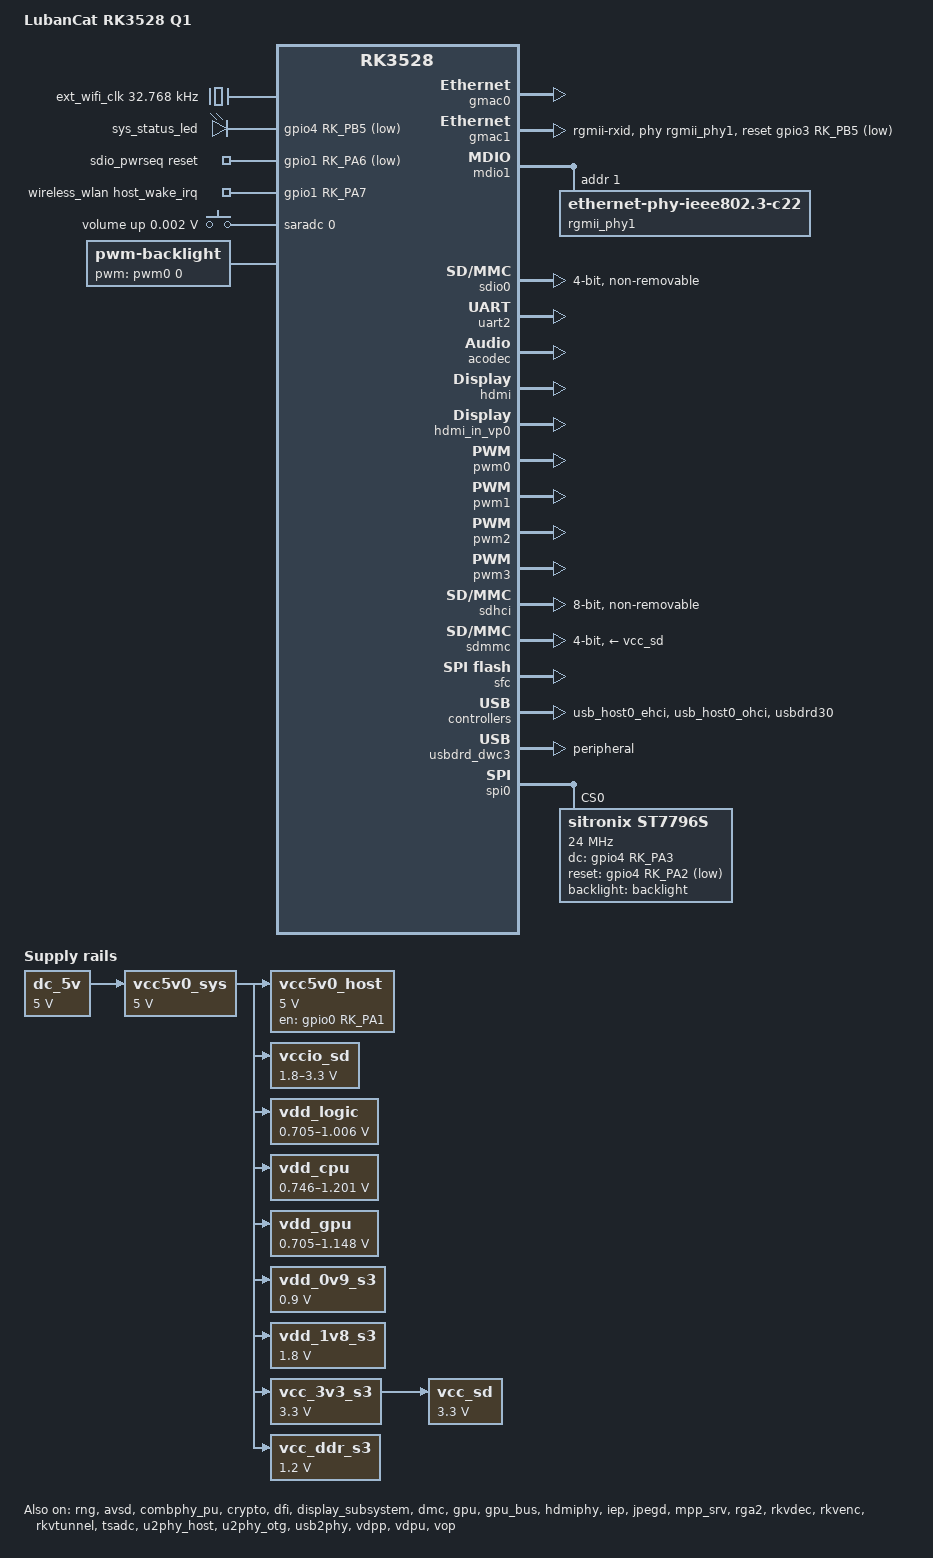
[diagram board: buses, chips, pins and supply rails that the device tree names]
// SPDX-License-Identifier: (GPL-2.0+ OR MIT)
/*
 * Copyright (c) 2022 Rockchip Electronics Co., Ltd.
 *
 */
 /dts-v1/;

 #include "rk3528.dtsi"
 #include <dt-bindings/gpio/gpio.h>
 #include <dt-bindings/input/rk-input.h>
 #include <dt-bindings/pinctrl/rockchip.h>
 #include "rk3528-linux.dtsi"
 
 / {
 
     model = "LubanCat RK3528 Q1";
     compatible = "rockchip,lubancat-q1", "rockchip,rk3528";
 
     chosen: chosen {
         bootargs = "earlycon=uart8250,mmio32,0xff9f0000 console=ttyFIQ0 root=PARTUUID=614e0000-0000 rw rootwait";
     };
 
     ext_wifi_clk: external-wifi-clock {
         compatible = "fixed-clock";
         #clock-cells = <0>;
         clock-frequency = <32768>;
         clock-output-names = "ext_wifi_clk";
     };
 
     leds: leds {
         status = "okay";
         compatible = "gpio-leds";
 
         sys_led: sys-led {
             label = "sys_status_led";
             linux,default-trigger = "heartbeat";
             default-state = "on";
             gpios = <&gpio4 RK_PB5 GPIO_ACTIVE_LOW>;
             pinctrl-names = "default";
             pinctrl-0 = <&sys_led_pin>;
         };
     };
 
     sdio_pwrseq: sdio-pwrseq {
         compatible = "mmc-pwrseq-simple";
         pinctrl-names = "default";
         pinctrl-0 = <&wifi_enable_h>;
         reset-gpios = <&gpio1 RK_PA6 GPIO_ACTIVE_LOW>;
     };
 
     wireless_wlan: wireless-wlan {
         compatible = "wlan-platdata";
         rockchip,grf = <&grf>;
         wifi_chip_type = "rtl8189es";
         pinctrl-names = "default";
         clocks = <&ext_wifi_clk>;
         clock-names = "clk_wifi";
         pinctrl-0 = <&wifi_host_wake_irq &clkm1_32k_out>;
         WIFI,host_wake_irq = <&gpio1 RK_PA7 GPIO_ACTIVE_HIGH>;
         status = "okay";
     };
 
     acodec_sound: acodec-sound {
         status = "okay";
         compatible = "simple-audio-card";
         simple-audio-card,name = "rk3528-acodec";
         simple-audio-card,format = "i2s";
         simple-audio-card,mclk-fs = <256>;
         simple-audio-card,cpu {
             sound-dai = <&sai2>;
         };
         simple-audio-card,codec {
             sound-dai = <&acodec>;
         };
     };
 
     adc_keys: adc-keys {
         status = "okay";
         compatible = "adc-keys";
         io-channels = <&saradc 0>;
         io-channel-names = "buttons";
         keyup-threshold-microvolt = <1800000>;
         poll-interval = <100>;
 
         vol-up-key {
             label = "volume up";
             linux,code = <KEY_VOLUMEUP>;
             press-threshold-microvolt = <1750>;
         };
     };
 
     dc_5v: dc-5v {
         compatible = "regulator-fixed";
         regulator-name = "dc_5v";
         regulator-always-on;
         regulator-boot-on;
         regulator-min-microvolt = <5000000>;
         regulator-max-microvolt = <5000000>;
     };
 
     hdmi_sound: hdmi-sound {
         compatible = "rockchip,hdmi";
         rockchip,mclk-fs = <128>;
         rockchip,card-name = "rockchip,hdmi";
         rockchip,cpu = <&sai3>;
         rockchip,codec = <&hdmi>;
         rockchip,jack-det;
     };
 
     pdmics: dummy-codec {
         status = "disabled";
         compatible = "rockchip,dummy-codec";
         #sound-dai-cells = <0>;
     };
 
     pdm_mic_array: pdm-mic-array {
         status = "disabled";
         compatible = "simple-audio-card";
         simple-audio-card,name = "rockchip,pdm-mic-array";
         simple-audio-card,cpu {
             sound-dai = <&pdm>;
         };
         simple-audio-card,codec {
             sound-dai = <&pdmics>;
         };
     };
 
     vcc5v0_sys: vcc5v0-sys {
         compatible = "regulator-fixed";
         regulator-name = "vcc5v0_sys";
         regulator-always-on;
         regulator-boot-on;
         regulator-min-microvolt = <5000000>;
         regulator-max-microvolt = <5000000>;
         vin-supply = <&dc_5v>;
     };
 
     vcc5v0_host: vcc5v0-host-regulator {
         compatible = "regulator-fixed";
         regulator-name = "vcc5v0_host";
         regulator-boot-on;
         regulator-always-on;
         regulator-min-microvolt = <5000000>;
         regulator-max-microvolt = <5000000>;
         enable-active-high;
         gpio = <&gpio0 RK_PA1 GPIO_ACTIVE_HIGH>;
         vin-supply = <&vcc5v0_sys>;
         pinctrl-names = "default";
         pinctrl-0 = <&vcc5v0_host_en>;
     };
 
     vccio_sd: vccio-sd {
         compatible = "regulator-gpio";
         regulator-name = "vccio_sd";
         regulator-min-microvolt = <1800000>;
         regulator-max-microvolt = <3300000>;
         gpios = <&gpio0 RK_PA0 GPIO_ACTIVE_LOW>;
         vin-supply = <&vcc5v0_sys>;
         states = <1800000 0x1 3300000 0x0>;
     };
 
     vdd_logic: vdd-logic {
         compatible = "pwm-regulator";
         pwms = <&pwm2 0 5000 1>;
         regulator-name = "vdd_logic";
         regulator-min-microvolt = <705000>;
         regulator-max-microvolt = <1006000>;
         regulator-init-microvolt = <900000>;
         regulator-ramp-delay = <12500>;
         regulator-always-on;
         regulator-boot-on;
         regulator-settling-time-up-us = <250>;
         pwm-supply = <&vcc5v0_sys>;
         status = "okay";
     };
 
     vdd_cpu: vdd-cpu {
         compatible = "pwm-regulator";
         pwms = <&pwm1 0 5000 1>;
         regulator-name = "vdd_cpu";
         regulator-min-microvolt = <746000>;
         regulator-max-microvolt = <1201000>;
         regulator-init-microvolt = <953000>;
         regulator-ramp-delay = <12500>;
         regulator-always-on;
         regulator-boot-on;
         regulator-settling-time-up-us = <250>;
         pwm-supply = <&vcc5v0_sys>;
         status = "okay";
     };
 
     vdd_gpu: vdd-gpu {
         compatible = "pwm-regulator";
         pwms = <&pwm0 0 5000 1>;
         regulator-name = "vdd_gpu";
         regulator-min-microvolt = <705000>;
         regulator-max-microvolt = <1148000>;
         regulator-init-microvolt = <900000>;
         regulator-ramp-delay = <12500>;
         regulator-always-on;
         regulator-boot-on;
         regulator-settling-time-up-us = <250>;
         pwm-supply = <&vcc5v0_sys>;
         status = "okay";
     };
 
     vdd_0v9_s3: vdd-0v9-s3 {
         compatible = "regulator-fixed";
         regulator-name = "vdd_0v9_s3";
         regulator-always-on;
         regulator-boot-on;
         regulator-min-microvolt = <900000>;
         regulator-max-microvolt = <900000>;
         vin-supply = <&vcc5v0_sys>;
     };
 
     vdd_1v8_s3: vdd-1v8-s3 {
         compatible = "regulator-fixed";
         regulator-name = "vdd_1v8_s3";
         regulator-always-on;
         regulator-boot-on;
         regulator-min-microvolt = <1800000>;
         regulator-max-microvolt = <1800000>;
         vin-supply = <&vcc5v0_sys>;
     };
 
     vcc_3v3_s3: vcc-3v3-s3 {
         compatible = "regulator-fixed";
         regulator-name = "vcc_3v3_s3";
         regulator-always-on;
         regulator-boot-on;
         regulator-min-microvolt = <3300000>;
         regulator-max-microvolt = <3300000>;
         vin-supply = <&vcc5v0_sys>;
     };
 
     vcc_sd: vcc-sd {
         compatible = "regulator-fixed";
         regulator-name = "vcc_sd";
         regulator-min-microvolt = <3300000>;
         regulator-max-microvolt = <3300000>;
         vin-supply = <&vcc_3v3_s3>;
     };
 
     vcc_ddr_s3: vcc-ddr-s3 {
         compatible = "regulator-fixed";
         regulator-name = "vcc_ddr_s3";
         regulator-always-on;
         regulator-boot-on;
         regulator-min-microvolt = <1200000>;
         regulator-max-microvolt = <1200000>;
         vin-supply = <&vcc5v0_sys>;
     };

    backlight: backlight {
		compatible = "pwm-backlight";
		pwms = <&pwm0 0 25000 0>;
		brightness-levels = <
			  0  20  20  21  21  22  22  23
			 23  24  24  25  25  26  26  27
			 27  28  28  29  29  30  30  31
			 31  32  32  33  33  34  34  35
			 35  36  36  37  37  38  38  39
			 40  41  42  43  44  45  46  47
			 48  49  50  51  52  53  54  55
			 56  57  58  59  60  61  62  63
			 64  65  66  67  68  69  70  71
			 72  73  74  75  76  77  78  79
			 80  81  82  83  84  85  86  87
			 88  89  90  91  92  93  94  95
			 96  97  98  99 100 101 102 103
			104 105 106 107 108 109 110 111
			112 113 114 115 116 117 118 119
			120 121 122 123 124 125 126 127
			128 129 130 131 132 133 134 135
			136 137 138 139 140 141 142 143
			144 145 146 147 148 149 150 151
			152 153 154 155 156 157 158 159
			160 161 162 163 164 165 166 167
			168 169 170 171 172 173 174 175
			176 177 178 179 180 181 182 183
			184 185 186 187 188 189 190 191
			192 193 194 195 196 197 198 199
			200 201 202 203 204 205 206 207
			208 209 210 211 212 213 214 215
			216 217 218 219 220 221 222 223
			224 225 226 227 228 229 230 231
			232 233 234 235 236 237 238 239
			240 241 242 243 244 245 246 247
			248 249 250 251 252 253 254 255
		>;
		default-brightness-level = <200>;
	};
 };
 
 &gmac0 {
     status = "okay";
 };
 
 &gmac1 {
     /* Use rgmii-rxid mode to disable rx delay inside Soc */
     phy-mode = "rgmii-rxid";
     clock_in_out = "output";
 
     snps,reset-gpio = <&gpio3 RK_PB5 GPIO_ACTIVE_LOW>;
     snps,reset-active-low;
     /* Reset time is 20ms, 100ms for rtl8211f */
     snps,reset-delays-us = <0 20000 100000>;
 
     tx_delay = <0x15>;
     /* rx_delay = <0x3f>; */
 
     pinctrl-names = "default";
     pinctrl-0 = <&rgmii_miim
              &rgmii_tx_bus2
              &rgmii_rx_bus2
              &rgmii_rgmii_clk
              &rgmii_rgmii_bus>;
 
     phy-handle = <&rgmii_phy1>;
     status = "okay";
 };
 
 &mdio1 {
     rgmii_phy1: phy@1 {
         compatible = "ethernet-phy-ieee802.3-c22";
         reg = <0x1>;
     };
 };
 
 &sdio0 {
     max-frequency = <200000000>;
     no-sd;
     no-mmc;
     supports-sdio;
     bus-width = <4>;
     disable-wp;
     cap-sd-highspeed;
     cap-sdio-irq;
     keep-power-in-suspend;
     non-removable;
     mmc-pwrseq = <&sdio_pwrseq>;
     pinctrl-names = "default";
     pinctrl-0 = <&sdio0_bus4 &sdio0_cmd &sdio0_clk>;
     sd-uhs-sdr104;
     status = "okay";
 };
 
 &uart2 {
     status = "okay";
     pinctrl-names = "default";
     pinctrl-0 = <&uart2m1_xfer &uart2m1_ctsn>;
 };
 
 &rng {
     status = "okay";
 };
 
 &avsd {
     status = "okay";
 };
 
 &combphy_pu {
     status = "okay";
 };
 
 &cpu0 {
     cpu-supply = <&vdd_cpu>;
 };
 
 &crypto {
     status = "okay";
 };
 
 &dfi {
     status = "okay";
 };
 
 &display_subsystem {
     status = "okay";
 };
 
 &dmc {
     center-supply = <&vdd_logic>;
     status = "okay";
 };
 
 &acodec {
     status = "okay";
 };
 
 &gpu {
     mali-supply = <&vdd_gpu>;
     status = "okay";
 };
 
 &gpu_bus {
     bus-supply = <&vdd_logic>;
     status = "okay";
 };
 
 &hdmi {
     status = "okay";
 };
 
 &hdmi_in_vp0 {
     status = "okay";
 };
 
 &hdmiphy {
     status = "okay";
 };
 
 &iep {
     status = "okay";
 };
 
 &iep_mmu {
     status = "okay";
 };
 
 &jpegd {
     status = "okay";
 };
 
 &jpegd_mmu {
     status = "okay";
 };
 
 &mpp_srv {
     status = "okay";
 };
 
 &pwm0 {
     status = "okay";
 };
 
 &pwm1 {
     status = "okay";
 };
 
 &pwm2 {
     status = "okay";
 };
 
 &pwm3 {
     compatible = "rockchip,remotectl-pwm";
     pinctrl-names = "default";
     pinctrl-0 = <&pwm3m0_pins>;
     remote_pwm_id = <3>;
     handle_cpu_id = <1>;
     remote_support_psci = <0>;
     status = "okay";
 
     ir_key1 {
         rockchip,usercode = <0x4040>;
         rockchip,key_table =
             <0xf2	KEY_REPLY>;
     };
 };
 
 &rga2 {
     status = "okay";
 };
 
 &rga2_mmu {
     status = "okay";
 };
 
 &rkvdec {
     status = "okay";
 };
 
 &rkvdec_mmu {
     status = "okay";
 };
 
 &rkvenc {
     status = "okay";
 };
 
 &rkvenc_mmu {
     status = "okay";
 };
 
 &rkvtunnel {
     status = "okay";
 };
 
 &rockchip_suspend {
     status = "okay";
     rockchip,sleep-debug-en = <1>;
     rockchip,virtual-poweroff = <1>;
     rockchip,sleep-mode-config = <
         (0
         | RKPM_SLP_ARMPD
         )
     >;
     rockchip,wakeup-config = <
         (0
         | RKPM_CPU0_WKUP_EN
         | RKPM_GPIO_WKUP_EN
         )
     >;
     rockchip,pwm-regulator-config = <
         (0
         | RKPM_PWM0_M0_REGULATOR_EN
         | RKPM_PWM1_M0_REGULATOR_EN
         )
     >;
 };
 
 &sai0 {
     pinctrl-0 = <&i2s0m1_lrck &i2s0m1_sclk &i2s0m1_sdi &i2s0m1_sdo>;
     status = "disabled";
 };
 
 &sai2 {
     status = "disabled";
 };
 
 &sai3 {
     status = "disabled";
 };
 
 &saradc {
     status = "disabled";
     vref-supply = <&vdd_1v8_s3>;
 };
 
 &sdhci {
     bus-width = <8>;
     no-sd;
     no-sdio;
     non-removable;
     mmc-hs400-1_8v;
     mmc-hs400-enhanced-strobe;
     max-frequency = <200000000>;
     status = "okay";
 };
 
 &sdmmc {
     bus-width = <4>;
     cap-mmc-highspeed;
     cap-sd-highspeed;
     disable-wp;
     max-frequency = <150000000>;
     pinctrl-names = "default";
     pinctrl-0 = <&sdmmc_clk &sdmmc_cmd &sdmmc_det &sdmmc_bus4>;
     supports-sd;
     sd-uhs-sdr12;
     sd-uhs-sdr25;
     sd-uhs-sdr50;
     sd-uhs-sdr104;
     vqmmc-supply = <&vccio_sd>;
     vmmc-supply = <&vcc_sd>;
     status = "okay";
 };
 
 &sfc {
     status = "okay";
 };
 
 &tsadc {
     status = "okay";
 };
 
 &u2phy_host {
     phy-supply = <&vcc5v0_host>;
     status = "okay";
 };
 
 &u2phy_otg {
     status = "okay";
 };
 
 &usb2phy {
     status = "okay";
 };
 
 &usb_host0_ehci {
     status = "okay";
 };
 
 &usb_host0_ohci {
     status = "okay";
 };
 
 &usbdrd30 {
     status = "okay";
 };
 
 &usbdrd_dwc3 {
     dr_mode = "peripheral";
     extcon = <&usb2phy>;
     status = "okay";
 };
 
 &vdpp {
     status = "okay";
 };
 
 &vdpu {
     status = "okay";
 };
 
 &vdpu_mmu {
     status = "okay";
 };
 
 &vop {
     status = "okay";
 };
 
 &vop_mmu {
     status = "okay";
 };
 
 &pcie2x1 {
     status = "disabled";
 };

 &spi0 {
    status = "okay";
    #address-cells = <1>;
    #size-cells = <0>;
    pinctrl-names = "default";
    pinctrl-0 = <&spi0_csn0 &spi0_csn1 &spi0_pins>;
    num-cs = <2>;

	st7796s: st7796s@0 {
		compatible = "sitronix,st7796s";
		reg = <0>;
        backlight = <&backlight>;
		spi-max-frequency = <24000000>;
        dc-gpios = <&gpio4 RK_PA3 GPIO_ACTIVE_HIGH>;
		reset-gpios = <&gpio4 RK_PA2 GPIO_ACTIVE_LOW>;
		rotation = <270>;
		status = "okay";
    };
 };
 
 &pinctrl {
     usb {
         vcc5v0_host_en: vcc5v0-host-en {
             rockchip,pins = <0 RK_PA1 RK_FUNC_GPIO &pcfg_pull_none>;
         };
     };
 
     leds {
         sys_led_pin: sys-led-pin {
             rockchip,pins = <4 RK_PB5 RK_FUNC_GPIO &pcfg_pull_none>;
         };
     };
 
     sdio-pwrseq {
         wifi_enable_h: wifi-enable-h {
             rockchip,pins = <1 RK_PA6 RK_FUNC_GPIO &pcfg_pull_none>;
         };
     };
 
     wireless-wlan {
         wifi_host_wake_irq: wifi-host-wake-irq {
             rockchip,pins = <1 RK_PA7 RK_FUNC_GPIO &pcfg_pull_down>;
         };
     };
 };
